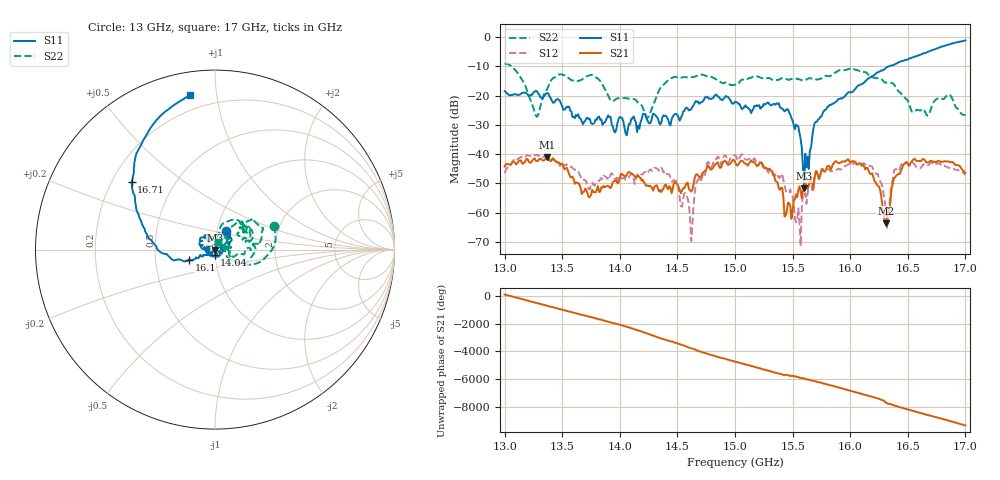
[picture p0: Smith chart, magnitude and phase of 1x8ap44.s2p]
!Keysight Technologies,P9374A,MY57211807,A.19.30.04
!Date: Friday, May 08, 2026 14:59:34
!Correction: S11(C  2-Port  )
!S21(C  2-Port  )
!S12(C  2-Port  )
!S22(C  2-Port  )
!S2P File: Measurements: S11, S21, S12, S22:
# Hz S  dB  R 50
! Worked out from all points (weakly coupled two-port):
!   401 points, 13 GHz to 17 GHz, reference 50 ohm
!   highest |S21| = -40.92 dB at 13.37 GHz (marker M1); lowest = -63.7 dB at 16.31 GHz (marker M2)
!   lowest |S11| = -51.6 dB at 15.6 GHz (marker M3), VSWR 1.01, Z = 50.1 - j0.257 ohm
!   |S11| at or under -10 dB: start of sweep to 16.34 GHz
!   |S22| runs from -27.6 to -9.1 dB; largest |S21 - S12| = 0.0036
!   S11 on the Smith chart (normalised r, x): 13 GHz: 1.11, +0.23; 14.04 GHz: 0.99, -0.06; 16.1 GHz: 0.74, -0.09; 16.71 GHz: 0.28, +0.33; 17 GHz: 0.12, +0.85
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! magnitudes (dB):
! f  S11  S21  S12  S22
! 13 GHz  -18.5  -44.2  -46.5  -9.1
! 13.28 GHz  -18.5  -42.3  -40.3  -27.3
! 13.37 GHz  -19.2  -40.9  -40.7  -17.8
! 13.67 GHz  -28.9  -53.6  -48.5  -14.6
! 14.04 GHz  -30.7  -47.5  -47.9  -20.9
! 14.24 GHz  -28.4  -50.7  -46.5  -27.6
! 14.34 GHz  -29.1  -52.7  -45.7  -18.3
! 14.62 GHz  -24.6  -52.8  -69.7  -13.7
! 14.76 GHz  -20.4  -44.0  -42.8  -13.4
! 15 GHz  -22.1  -42.6  -40.3  -16.3
! 15.3 GHz  -23.0  -45.0  -45.4  -14.0
! 15.46 GHz  -24.7  -56.6  -52.8  -14.6
! 15.55 GHz  -30.6  -52.3  -58.5  -14.4
! 15.6 GHz  -51.6  -51.0  -53.8  -14.8
! 15.67 GHz  -34.2  -50.2  -52.3  -14.2
! 16.1 GHz  -16.1  -44.0  -43.4  -12.0
! 16.25 GHz  -11.9  -51.1  -48.2  -14.0
! 16.31 GHz  -10.5  -63.7  -60.8  -15.6
! 16.34 GHz  -9.9  -59.7  -57.0  -15.6
! 16.4 GHz  -9.1  -47.3  -45.2  -17.4
! 16.71 GHz  -4.5  -42.4  -42.9  -23.5
! 17 GHz  -1.2  -46.4  -47.1  -26.6
